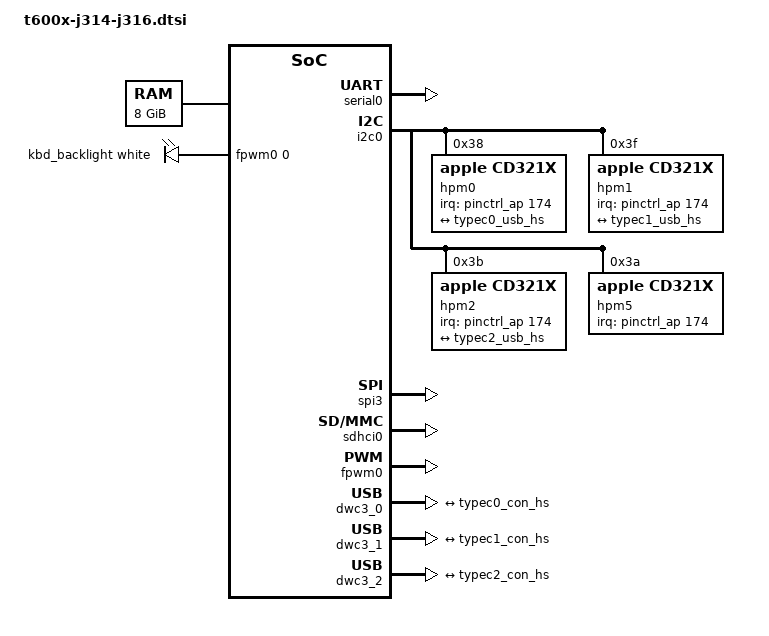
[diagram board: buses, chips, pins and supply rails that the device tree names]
// SPDX-License-Identifier: GPL-2.0+ OR MIT
/*
 * MacBook Pro (14/16-inch, 2021)
 *
 * This file contains the parts common to J314 and J316 devices with both t6000 and t6001.
 *
 * target-type: J314s / J314c / J316s / J316c
 *
 * Copyright The Asahi Linux Contributors
 */

#include <dt-bindings/leds/common.h>

/ {
	aliases {
		serial0 = &serial0;
		wifi0 = &wifi0;
	};

	chosen {
		#address-cells = <2>;
		#size-cells = <2>;
		ranges;

		stdout-path = "serial0";

		framebuffer0: framebuffer@0 {
			compatible = "apple,simple-framebuffer", "simple-framebuffer";
			reg = <0 0 0 0>; /* To be filled by loader */
			/* Format properties will be added by loader */
			status = "disabled";
		};
	};

	memory@10000000000 {
		device_type = "memory";
		reg = <0x100 0 0x2 0>; /* To be filled by loader */
	};

	led-controller {
		compatible = "pwm-leds";
		led-0 {
			pwms = <&fpwm0 0 40000>;
			label = "kbd_backlight";
			function = LED_FUNCTION_KBD_BACKLIGHT;
			color = <LED_COLOR_ID_WHITE>;
			max-brightness = <255>;
			default-state = "keep";
		};
	};
};

&serial0 {
	status = "okay";
};

/* USB Type C */
&i2c0 {
	hpm0: usb-pd@38 {
		compatible = "apple,cd321x";
		reg = <0x38>;
		interrupt-parent = <&pinctrl_ap>;
		interrupts = <174 IRQ_TYPE_LEVEL_LOW>;
		interrupt-names = "irq";

		typec0: connector {
			compatible = "usb-c-connector";
			label = "USB-C Left Rear";
			power-role = "dual";
			data-role = "dual";

			ports {
				#address-cells = <1>;
				#size-cells = <0>;
				port@0 {
					reg = <0>;
					typec0_con_hs: endpoint {
						remote-endpoint = <&typec0_usb_hs>;
					};
				};
			};
		};
	};

	hpm1: usb-pd@3f {
		compatible = "apple,cd321x";
		reg = <0x3f>;
		interrupt-parent = <&pinctrl_ap>;
		interrupts = <174 IRQ_TYPE_LEVEL_LOW>;
		interrupt-names = "irq";

		typec1: connector {
			compatible = "usb-c-connector";
			label = "USB-C Left Front";
			power-role = "dual";
			data-role = "dual";

			ports {
				#address-cells = <1>;
				#size-cells = <0>;
				port@0 {
					reg = <0>;
					typec1_con_hs: endpoint {
						remote-endpoint = <&typec1_usb_hs>;
					};
				};
			};
		};
	};

	hpm2: usb-pd@3b {
		compatible = "apple,cd321x";
		reg = <0x3b>;
		interrupt-parent = <&pinctrl_ap>;
		interrupts = <174 IRQ_TYPE_LEVEL_LOW>;
		interrupt-names = "irq";

		typec2: connector {
			compatible = "usb-c-connector";
			label = "USB-C Right";
			power-role = "dual";
			data-role = "dual";

			ports {
				#address-cells = <1>;
				#size-cells = <0>;
				port@0 {
					reg = <0>;
					typec2_con_hs: endpoint {
						remote-endpoint = <&typec2_usb_hs>;
					};
				};
			};
		};
	};

	/* MagSafe port */
	hpm5: usb-pd@3a {
		compatible = "apple,cd321x";
		reg = <0x3a>;
		interrupt-parent = <&pinctrl_ap>;
		interrupts = <174 IRQ_TYPE_LEVEL_LOW>;
		interrupt-names = "irq";
	};
};

&nco_clkref {
	clock-frequency = <1068000000>;
};

&spi3 {
	status = "okay";

	hid-transport@0 {
		compatible = "apple,spi-hid-transport";
		reg = <0>;
		spi-max-frequency = <8000000>;
		/*
		 * Apple's ADT specifies 20us CS change delays, and the
		 * SPI HID interface metadata specifies 45us. Using either
		 * seems not to be reliable, but adding both works, so
		 * best guess is they are cumulative.
		*/
		spi-cs-setup-delay-ns = <65000>;
		spi-cs-hold-delay-ns = <65000>;
		spi-cs-inactive-delay-ns = <250000>;
		spien-gpios = <&pinctrl_ap 194 0>;
		interrupts-extended = <&pinctrl_nub 6 IRQ_TYPE_LEVEL_LOW>;
	};
};

/* PCIe devices */
&port00 {
	/* WLAN */
	bus-range = <1 1>;
	wifi0: wifi@0,0 {
		reg = <0x10000 0x0 0x0 0x0 0x0>;
		/* To be filled by the loader */
		local-mac-address = [00 10 18 00 00 10];
	};
};

&port01 {
	/* SD card reader */
	bus-range = <2 2>;
	sdhci0: mmc@0,0 {
		compatible = "pci17a0,9755";
		reg = <0x20000 0x0 0x0 0x0 0x0>;
		cd-inverted;
		wp-inverted;
	};
};

&fpwm0 {
	status = "okay";
};

/* USB controllers */
&dwc3_0 {
	port {
		typec0_usb_hs: endpoint {
			remote-endpoint = <&typec0_con_hs>;
		};
	};
};

&dwc3_1 {
	port {
		typec1_usb_hs: endpoint {
			remote-endpoint = <&typec1_con_hs>;
		};
	};
};

&dwc3_2 {
	port {
		typec2_usb_hs: endpoint {
			remote-endpoint = <&typec2_con_hs>;
		};
	};
};

/* ATC3 is used for DisplayPort -> HDMI only */
&dwc3_3_dart_0 {
	status = "disabled";
};

&dwc3_3_dart_1 {
	status = "disabled";
};

&dwc3_3 {
	status = "disabled";
};

#include "spi1-nvram.dtsi"
